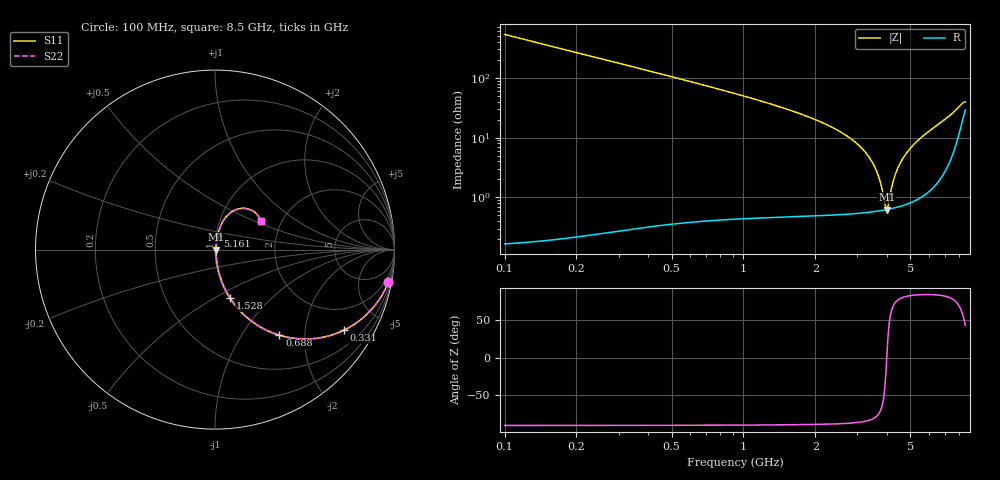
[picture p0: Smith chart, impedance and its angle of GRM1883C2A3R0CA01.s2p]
!Murata Part Number: GRM1883C2A3R0CA01
!These Parameters are Measured in Series Mode Connection
!Data Generated on Mar 30, 2021
!  o--ll--o
!Port1  Port2
!  o------o
!Operation Temp=25[degC], DC Bias Voltage=0[V]
!Freq. Start=100[MHz] Stop=9[GHz] 401[Steps]
# Hz S RI R 50
!Freq.(Hz) S11(Real) S11(Imag) S21(Real) S21(Imag) S12(Real) S12(Imag) S22(Real) S22(Imag)
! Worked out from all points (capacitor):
!   401 points, 100 MHz to 8.5 GHz, reference 50 ohm
!   read as one part in series: C = 3 pF near 142 MHz
!   lowest |Z| = 627 mohm at 3.985 GHz (marker M1)
!   series resonance near 3.981 GHz, so ESL is about 530 pH
!   S11 on the Smith chart (normalised r, x): 100 MHz: 1, -11; 331 MHz: 1.01, -3.18; 688 MHz: 1.01, -1.50; 1.528 GHz: 1.01, -0.59; 5.161 GHz: 1.02, +0.15; 8.5 GHz: 1.58, +0.54
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1e8  0.9656 -0.1821  0.0344 0.1821  0.0344 0.1821  0.9656 -0.1821
2.26e8  0.8452 -0.3612  0.1548 0.3612  0.1548 0.3612  0.8452 -0.3612
3.31e8  0.7163 -0.4499  0.2837 0.4499  0.2837 0.4499  0.7163 -0.4499
4.78e8  0.5441 -0.4965  0.4559 0.4965  0.4559 0.4965  0.5441 -0.4965
6.88e8  0.3592 -0.4771  0.6408 0.4771  0.6408 0.4771  0.3592 -0.4771
1.024e9  0.192 -0.3893  0.808 0.3893  0.808 0.3893  0.192 -0.3893
1.507e9  0.0874 -0.2747  0.9126 0.2747  0.9126 0.2747  0.0874 -0.2747
1.528e9  0.0846 -0.2705  0.9154 0.2705  0.9154 0.2705  0.0846 -0.2705
2.914e9  0.0126 -0.0845  0.9874 0.0845  0.9874 0.0845  0.0126 -0.0845
3.292e9  0.00825 -0.0515  0.9918 0.0515  0.9918 0.0515  0.00825 -0.0515
3.565e9  0.0067 -0.03  0.9933 0.03  0.9933 0.03  0.0067 -0.03
3.733e9  0.00626 -0.0176  0.9937 0.0176  0.9937 0.0176  0.00626 -0.0176
3.922e9  0.00617 -0.00411  0.9938 0.00411  0.9938 0.00411  0.00617 -0.00411
3.985e9  0.00623 0.000245  0.9938 -0.000245  0.9938 -0.000245  0.00623 0.000245
4.027e9  0.00629 0.00312  0.9937 -0.00312  0.9937 -0.00312  0.00629 0.00312
4.3e9  0.0071 0.0213  0.9929 -0.0213  0.9929 -0.0213  0.0071 0.0213
4.636e9  0.00905 0.0425  0.991 -0.0425  0.991 -0.0425  0.00905 0.0425
5.161e9  0.0141 0.0741  0.9859 -0.0741  0.9859 -0.0741  0.0141 0.0741
5.707e9  0.0222 0.106  0.9778 -0.106  0.9778 -0.106  0.0222 0.106
7.114e9  0.0692 0.1906  0.9308 -0.1906  0.9308 -0.1906  0.0692 0.1906
8.017e9  0.1711 0.2291  0.8289 -0.2291  0.8289 -0.2291  0.1711 0.2291
8.5e9  0.2566 0.1566  0.7434 -0.1566  0.7434 -0.1566  0.2566 0.1566
